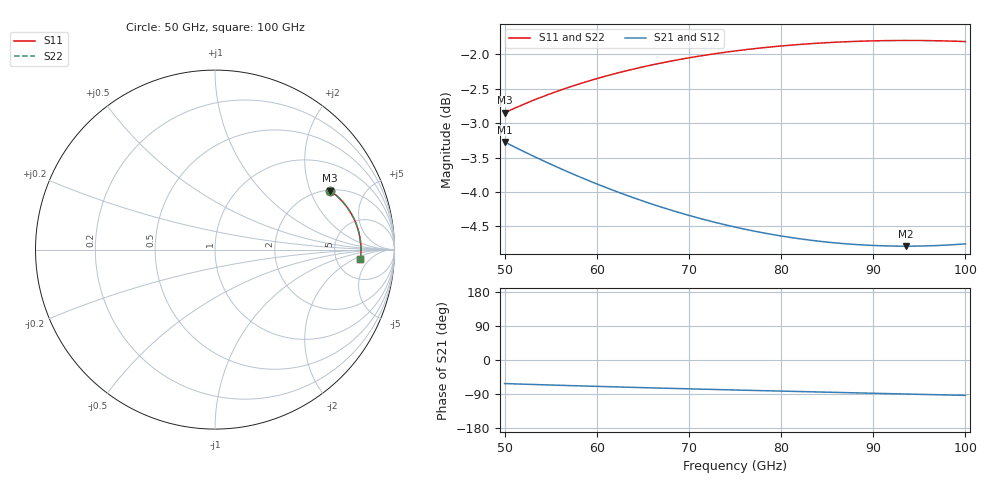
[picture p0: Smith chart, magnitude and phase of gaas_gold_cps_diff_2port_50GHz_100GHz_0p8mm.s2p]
# Hz S RI R 100
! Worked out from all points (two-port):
!   10000 points, 50 GHz to 100 GHz, reference 100 ohm
!   highest |S21| = -3.27 dB at 50 GHz (marker M1); lowest = -4.8 dB at 93.56 GHz (marker M2)
!   |S21| within 3 dB of the highest: start of sweep to end of sweep
!   lowest |S11| = -2.8 dB at 50 GHz (marker M3), VSWR 6.15, Z = 203 + j277 ohm
!   |S11| at or under -10 dB: nowhere
!   |S22| runs from -2.8 to -1.8 dB; largest |S21 - S12| = 3.9e-16
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5e10  0.641 0.3288  0.3194 -0.6071  0.3194 -0.6071  0.641 0.3288
5.015969e10  0.6424 0.3278  0.3176 -0.607  0.3176 -0.607  0.6424 0.3278
5.242427e10  0.6622 0.313  0.2938 -0.6059  0.2938 -0.6059  0.6622 0.313
5.426567e10  0.6771 0.3004  0.2753 -0.6046  0.2753 -0.6046  0.6771 0.3004
5.628479e10  0.6923 0.2863  0.256 -0.603  0.256 -0.603  0.6923 0.2863
5.833454e10  0.7066 0.2716  0.2373 -0.6011  0.2373 -0.6011  0.7066 0.2716
6.03668e10  0.7197 0.2567  0.2196 -0.599  0.2196 -0.599  0.7197 0.2567
6.243089e10  0.7319 0.2413  0.2024 -0.5969  0.2024 -0.5969  0.7319 0.2413
6.452977e10  0.7433 0.2255  0.1857 -0.5946  0.1857 -0.5946  0.7433 0.2255
6.666685e10  0.7538 0.2092  0.1695 -0.5923  0.1695 -0.5923  0.7538 0.2092
6.87078e10  0.7629 0.1935  0.1545 -0.5902  0.1545 -0.5902  0.7629 0.1935
7.077688e10  0.7713 0.1775  0.14 -0.5881  0.14 -0.5881  0.7713 0.1775
7.287795e10  0.779 0.1612  0.1257 -0.5861  0.1257 -0.5861  0.779 0.1612
7.500499e10  0.7858 0.1447  0.1117 -0.5842  0.1117 -0.5842  0.7858 0.1447
7.912833e10  0.7968 0.1124  0.0858 -0.581  0.0858 -0.581  0.7968 0.1124
8.33338e10  0.8051 0.0795  0.0605 -0.5785  0.0605 -0.5785  0.8051 0.0795
8.748337e10  0.8103 0.0469  0.0365 -0.5769  0.0365 -0.5769  0.8103 0.0469
9.166783e10  0.8129 0.0141  0.0128 -0.5761  0.0128 -0.5761  0.8129 0.0141
9.355524e10  0.8132 -0.000753  0.00212 -0.5761  0.00212 -0.5761  0.8132 -0.000753
9.669379e10  0.8125 -0.0254  -0.0156 -0.5764  -0.0156 -0.5764  0.8125 -0.0254
9.966781e10  0.8104 -0.0488  -0.0325 -0.5772  -0.0325 -0.5772  0.8104 -0.0488
1e11  0.8101 -0.0514  -0.0344 -0.5773  -0.0344 -0.5773  0.8101 -0.0514
